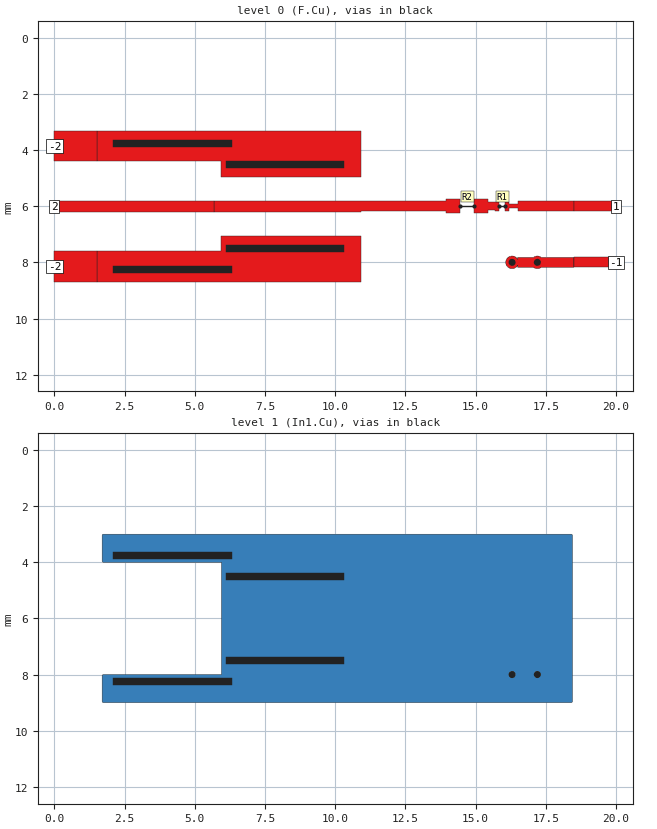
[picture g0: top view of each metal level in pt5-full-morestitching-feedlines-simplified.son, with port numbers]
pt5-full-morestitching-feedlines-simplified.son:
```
FTYP SONPROJ 19 ! Sonnet Project File
VER 18.52
HEADER
LIC antikernel2.1.51176
DAT 11/25/2021 18:52:39
BUILT_BY_CREATED dxf 18.52 11/25/2021 07:40:45
BUILT_BY_SAVED sonnet 18.52
MDATE 11/25/2021 18:52:39
HDATE 11/25/2021 18:52:39
ANN Created by dxfgeo, Sonnet Software Inc.
END HEADER
DIM
ANG DEG
CAP PF
CON /OH
FREQ GHZ
IND NH
LNG MM
RES OH
END DIM
CONTROL
VARSWP
OPTIONS  -dj
SPEED 1
CACHE_ABS 2
Q_ACC N
END CONTROL
GEO
DRP1 LEFT LINK
POLY 441 1
1
DRP1 RIGHT LINK
POLY 432 1
0
TMET "Free Space" 0 FREESPACE 376.7303136 0 0 0
BMET "Free Space" 0 FREESPACE 376.7303136 0 0 0
MET "Copper_outer" 1 TMM 58000000 0.5 0.0432 2
MET "Copper_inner" 2 NOR 58000000 0.5 0.0175 
MET "Copper_bottom" 3 TMM 58000000 0.5 0.0432 2 CDVY TDWN
BOX 4 20 12 1600 960 20 0
      10 1 1 0 0 0 0 "Air"
      0.1702 3.68 1 0.0092 0 0 0 "Isola_FR408HR"
      1.1938 3.68 1 0.0092 0 0 0 "Isola_FR408HR"
      0.1702 3.68 1 0.0092 0 0 0 "Isola_FR408HR"
      10 1 1 0 0 0 0 "Air"
TECHLAY VIA Via1 L5D0 -5 -65534 CAD Via1 drawing 
VIA POLYGON
0 0 -1 N 487 1 1 100 100 0 0 0 Y
TOLEVEL 3 RING NOCOVERS
END
END
TECHLAY METAL F.Cu L1D0 -1 -65534 CAD F.Cu drawing 
0 0 0 N 65 1 1 100 100 0 0 0 Y
END
END
TECHLAY METAL In1.Cu L2D0 -2 -65534 CAD In1.Cu drawing 
1 0 1 N 68 1 1 100 100 0 0 0 Y
END
END
TECHLAY METAL In2.Cu L3D0 -3 -65534 CAD In2.Cu drawing 
2 0 1 N 71 1 1 100 100 0 0 0 Y
END
END
TECHLAY METAL B.Cu L4D0 -4 -65534 CAD B.Cu drawing 
3 0 2 N 74 1 1 100 100 0 0 0 Y
END
END
LORGN 0 12 U 
POR1 BOX
POLY 432 1
2
1 50 0 0 0 20 6 
POR1 BOX
POLY 436 1
2
-1 50 0 0 0 20 8 
POR1 BOX
POLY 441 1
2
2 50 0 0 0 0 6 
POR1 BOX
POLY 447 1
2
-2 50 0 0 0 0 3.855 
POR1 BOX
POLY 452 1
2
-2 50 0 0 0 0 8.145 
SMD 0 "R1"
ID 455
GNDREF POLY
DRP1 LEFT NONE 0.75
DRP1 RIGHT NONE 0.75
SBOX 15.9 16 5.95 6.05
PBSHW N
LPOS 15.95 5.95
TYPE SPARAM 1
SMDP 0 16.05 6 R 3 1 
EXSMDP
GNDREF POLY AUTO
TERMW FEED
END EXSMDP
SMDP 0 15.85 6 L 4 2 
EXSMDP
GNDREF POLY AUTO
TERMW FEED
END EXSMDP
END
SMD 0 "R2"
ID 460
GNDREF POLY
DRP1 LEFT NONE 0.75
DRP1 RIGHT NONE 0.75
SBOX 14.575 14.825 5.875 6.125
PBSHW N
LPOS 14.7 5.875
TYPE SPARAM 2
SMDP 0 14.95 6 R 5 1 
EXSMDP
GNDREF POLY AUTO
TERMW FEED
END EXSMDP
SMDP 0 14.45 6 L 6 2 
EXSMDP
GNDREF POLY AUTO
TERMW FEED
END EXSMDP
END
NUM 18
VIA POLYGON
0 53 -1 N 346 1 1 100 100 0 0 0 Y
TOLEVEL 3 RING NOCOVERS
TLAYNAM Via1 INH
USER_DAT FromImport
17.2 8.125
17.176 8.123
17.164 8.12
17.152 8.115
17.141 8.11
17.131 8.104
17.121 8.097
17.103 8.079
17.096 8.069
17.09 8.059
17.085 8.048
17.08 8.036
17.077 8.024
17.075 8
17.077 7.976
17.08 7.964
17.085 7.952
17.09 7.941
17.096 7.931
17.103 7.921
17.121 7.903
17.131 7.896
17.141 7.89
17.152 7.885
17.164 7.88
17.176 7.877
17.2 7.875
17.224 7.877
17.236 7.88
17.248 7.885
17.259 7.89
17.269 7.896
17.279 7.903
17.297 7.921
17.304 7.931
17.31 7.941
17.315 7.952
17.32 7.964
17.323 7.976
17.325 8
17.323 8.024
17.32 8.036
17.315 8.048
17.31 8.059
17.304 8.069
17.297 8.079
17.279 8.097
17.269 8.104
17.259 8.11
17.248 8.115
17.236 8.12
17.224 8.123
17.2 8.125
END
VIA POLYGON
0 53 -1 N 355 1 1 100 100 0 0 0 Y
TOLEVEL 3 RING NOCOVERS
TLAYNAM Via1 INH
USER_DAT FromImport
16.3 8.125
16.276 8.123
16.264 8.12
16.252 8.115
16.241 8.11
16.231 8.104
16.221 8.097
16.203 8.079
16.196 8.069
16.19 8.059
16.185 8.048
16.18 8.036
16.177 8.024
16.175 8
16.177 7.976
16.18 7.964
16.185 7.952
16.19 7.941
16.196 7.931
16.203 7.921
16.221 7.903
16.231 7.896
16.241 7.89
16.252 7.885
16.264 7.88
16.276 7.877
16.3 7.875
16.324 7.877
16.336 7.88
16.348 7.885
16.359 7.89
16.369 7.896
16.379 7.903
16.397 7.921
16.404 7.931
16.41 7.941
16.415 7.952
16.42 7.964
16.423 7.976
16.425 8
16.423 8.024
16.42 8.036
16.415 8.048
16.41 8.059
16.404 8.069
16.397 8.079
16.379 8.097
16.369 8.104
16.359 8.11
16.348 8.115
16.336 8.12
16.324 8.123
16.3 8.125
END
VIA POLYGON
0 5 -1 N 465 1 1 100 100 0 0 0 Y
TOLEVEL 3 RING NOCOVERS
TLAYNAM Via1 INH
2.075 3.625
6.325 3.625
6.325 3.875
2.075 3.875
2.075 3.625
END
VIA POLYGON
0 5 -1 N 466 1 1 100 100 0 0 0 Y
TOLEVEL 3 RING NOCOVERS
TLAYNAM Via1 INH
6.1 4.375
10.325 4.375
10.325 4.625
6.1 4.625
6.1 4.375
END
VIA POLYGON
0 5 -1 N 467 1 1 100 100 0 0 0 Y
TOLEVEL 3 RING NOCOVERS
TLAYNAM Via1 INH
2.075 8.125
6.325 8.125
6.325 8.375
2.075 8.375
2.075 8.125
END
VIA POLYGON
0 5 -1 N 468 1 1 100 100 0 0 0 Y
TOLEVEL 3 RING NOCOVERS
TLAYNAM Via1 INH
6.1 7.375
10.325 7.375
10.325 7.625
6.1 7.625
6.1 7.375
END
0 13 0 N 365 1 1 100 100 0 0 0 Y
TLAYNAM F.Cu INH
USER_DAT FromImport
14.95 6.25
14.95 5.75
15.45 5.75
15.45 5.85
15.7 5.85
15.7 5.845
15.85 5.845
15.85 6.155
15.7 6.155
15.7 6.15
15.45 6.15
15.45 6.25
14.95 6.25
END
0 13 0 N 371 1 1 100 100 0 0 0 Y
TLAYNAM F.Cu INH
USER_DAT FromImport
13.95 6.25
13.95 6.175
10.91 6.175
10.91 6.2
5.7 6.2
5.7 5.8
10.91 5.8
10.91 5.825
13.95 5.825
13.95 5.75
14.45 5.75
14.45 6.25
13.95 6.25
END
0 13 0 N 391 1 1 100 100 0 0 0 Y
TLAYNAM F.Cu INH
USER_DAT FromImport
16.5 6.175
16.5 6.062
16.2 6.062
16.2 6.155
16.05 6.155
16.05 5.845
16.2 5.845
16.2 5.937
16.5 5.937
16.5 5.825
18.5 5.825
18.5 6.175
16.5 6.175
END
0 93 0 N 416 1 1 100 100 0 0 0 Y
TLAYNAM F.Cu INH
USER_DAT FromImport
16.289 8.225
16.267 8.223
16.245 8.218
16.224 8.212
16.204 8.203
16.184 8.193
16.166 8.181
16.149 8.167
16.133 8.151
16.119 8.134
16.107 8.116
16.097 8.096
16.088 8.076
16.082 8.055
16.077 8.033
16.075 8.011
16.075 7.989
16.077 7.967
16.082 7.945
16.088 7.924
16.097 7.904
16.107 7.884
16.119 7.866
16.133 7.849
16.149 7.833
16.166 7.819
16.184 7.807
16.204 7.797
16.224 7.788
16.245 7.782
16.267 7.777
16.289 7.775
16.311 7.775
16.333 7.777
16.355 7.782
16.376 7.788
16.396 7.797
16.416 7.807
16.434 7.819
16.451 7.833
16.467 7.849
16.481 7.866
16.493 7.884
16.5 7.898
16.5 7.825
17.059 7.825
17.066 7.819
17.084 7.807
17.104 7.797
17.124 7.788
17.145 7.782
17.167 7.777
17.189 7.775
17.211 7.775
17.233 7.777
17.255 7.782
17.276 7.788
17.296 7.797
17.316 7.807
17.334 7.819
17.341 7.825
18.5 7.825
18.5 8.175
17.341 8.175
17.334 8.181
17.316 8.193
17.296 8.203
17.276 8.212
17.255 8.218
17.233 8.223
17.211 8.225
17.189 8.225
17.167 8.223
17.145 8.218
17.124 8.212
17.104 8.203
17.084 8.193
17.066 8.181
17.059 8.175
16.5 8.175
16.5 8.102
16.493 8.116
16.481 8.134
16.467 8.151
16.451 8.167
16.434 8.181
16.416 8.193
16.396 8.203
16.376 8.212
16.355 8.218
16.333 8.223
16.311 8.225
16.289 8.225
END
0 7 0 N 426 1 1 100 100 0 0 0 Y
TLAYNAM F.Cu INH
USER_DAT FromImport
10.91 7.05
5.95 7.05
5.95 7.6
1.51 7.6
1.51 8.69
10.91 8.69
10.91 7.05
END
0 9 0 N 427 1 1 100 100 0 0 0 Y
TLAYNAM F.Cu INH
USER_DAT FromImport
10.91 3.31
1.51 3.31
1.51 4.4
5.236 4.4
5.236 4.4
5.95 4.4
5.95 4.95
10.91 4.95
10.91 3.31
END
0 5 0 N 432 1 1 100 100 0 0 0 Y
TLAYNAM F.Cu INH
18.5 5.825
18.5 6.175
20 6.175
20 5.825
18.5 5.825
END
0 5 0 N 436 1 1 100 100 0 0 0 Y
TLAYNAM F.Cu INH
18.5 7.825
18.5 8.175
20 8.175
20 7.825
18.5 7.825
END
0 5 0 N 441 1 1 100 100 0 0 0 Y
TLAYNAM F.Cu INH
5.7 6.2
5.7 5.8
0 5.8
0 6.2
5.7 6.2
END
0 5 0 N 447 1 1 100 100 0 0 0 Y
TLAYNAM F.Cu INH
1.51 3.31
1.51 4.4
0 4.4
0 3.31
1.51 3.31
END
0 5 0 N 452 1 1 100 100 0 0 0 Y
TLAYNAM F.Cu INH
1.51 7.6
1.51 8.69
0 8.69
0 7.6
1.51 7.6
END
1 93 1 N 470 1 1 100 100 0 0 0 Y
TLAYNAM In1.Cu INH
18.412 8.999
18.417 8.997
18.421 8.995
18.426 8.993
18.434 8.987
18.437 8.984
18.443 8.976
18.445 8.971
18.447 8.967
18.449 8.962
18.45 8.957
18.45 3.043
18.449 3.038
18.447 3.033
18.445 3.029
18.443 3.024
18.437 3.016
18.434 3.013
18.426 3.007
18.421 3.005
18.417 3.003
18.412 3.001
18.407 3
1.743 3
1.738 3.001
1.733 3.003
1.729 3.005
1.724 3.007
1.716 3.013
1.713 3.016
1.707 3.024
1.705 3.029
1.703 3.033
1.701 3.038
1.7 3.043
1.7 3.957
1.701 3.962
1.703 3.967
1.705 3.971
1.707 3.976
1.713 3.984
1.716 3.987
1.724 3.993
1.729 3.995
1.733 3.997
1.738 3.999
1.743 4
5.949 4
5.949 4.001
5.95 4.001
5.95 4.025
5.95 4.025
5.95 4.42
5.95 4.42
5.95 4.42
5.95 4.979
5.95 4.979
5.95 4.979
5.95 7.02
5.95 7.02
5.95 7.02
5.95 7.579
5.95 7.579
5.95 7.579
5.95 7.999
5.95 7.999
5.949 8
1.743 8
1.738 8.001
1.733 8.003
1.729 8.005
1.724 8.007
1.716 8.013
1.713 8.016
1.707 8.024
1.705 8.029
1.703 8.033
1.701 8.038
1.7 8.043
1.7 8.957
1.701 8.962
1.703 8.967
1.705 8.971
1.707 8.976
1.713 8.984
1.716 8.987
1.724 8.993
1.729 8.995
1.733 8.997
1.738 8.999
1.743 9
18.407 9
18.412 8.999
END
END GEO
OPT
MAX 100
END OPT
VARSWP
ENABLED Y
FREQ Y AY ABS_ENTRY 0.1 20.0 -1 300 
END
END VARSWP
SMDFILES
1 "../../../../../../../bulk/datasheets/Vishay/Resistors/CH/CH02016F_P/CH02016F_P_250R.s2p"
2 "../../../../../../../bulk/datasheets/Vishay/Resistors/FC/0402/FC0402-FlipChip-100 Ohm.s2p"
END SMDFILES
```
